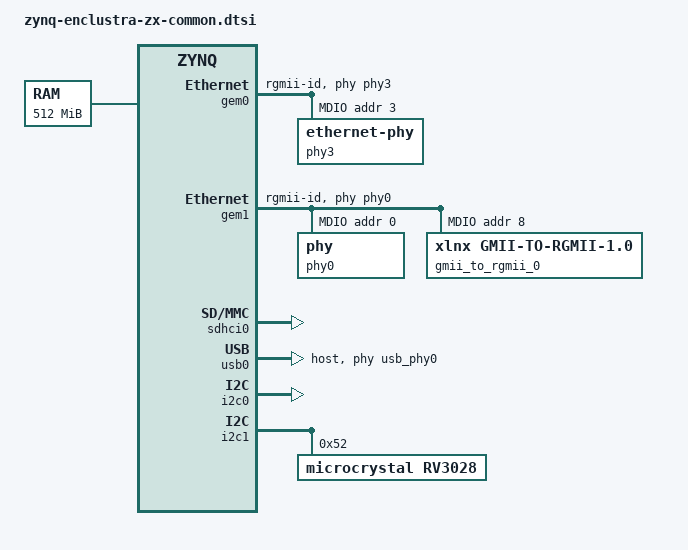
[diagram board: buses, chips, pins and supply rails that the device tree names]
/ {
	memory {
		device_type = "memory";
		reg = <0x0 0x20000000>;
	};

	chosen {
		linux,stdout-path = "/amba/serial@e0000000";
	};

	usb_phy0: phy0 {
		compatible = "ulpi-phy";
		#phy-cells = <0>;
		reg = <0xe0002000 0x1000>;
		view-port = <0x0170>;
		drv-vbus;
	};


};



&gem0 {
	status = "okay";
	phy-mode = "rgmii-id";
	phy-handle = <&phy3>;
	ps7_ethernet_0_mdio: mdio {
        	#address-cells = <1>;
        	#size-cells = <0>;
		phy3: ethernet-phy@3 {
			device_type = "ethernet-phy";
      			reg = <3>;
     		};
	};

};
&gem1 {
	phy-handle = <&phy0>;
  	gmii2rgmii-phy-handle = <&gmii_to_rgmii_0>;
	phy-mode = "rgmii-id";
	status = "okay";
	ps7_ethernet_1_mdio: mdio {
        	#address-cells = <1>;
        	#size-cells = <0>;	
		phy0: phy@0 {
			device_type = "ethernet-phy";
			reg = <0>;
        	};
        gmii_to_rgmii_0: phy@8 {
            compatible = "xlnx,gmii-to-rgmii-1.0";
            reg = <8>;
            phy-handle = <&phy0>;
        };
    };
};




&sdhci0 {
	status = "okay";
	broken-cd = <0x1>;
	wp-inverted = <0x1>;
};

&usb0 {
	status = "okay";
	dr_mode = "host";
	usb-phy = <&usb_phy0>;
};

&i2c0 {
	status = "okay";
	/* Both RTCs disabled by default, choose one */
	pcf85063: pcf85063@51 {
		status = "disabled";
		compatible = "nxp,pcf85063";
		reg = <0x51>;
	};
	isl12022: isl12022@68 {
		status = "disabled";
		compatible = "isil,isl12022";
		reg = <0x6f>;
	};
};

&i2c1 {
	status = "okay";
	rv3028: rv3028@52 {
		status = "okay";
		compatible = "microcrystal,rv3028";
		reg = <0x52>;
	};
};
